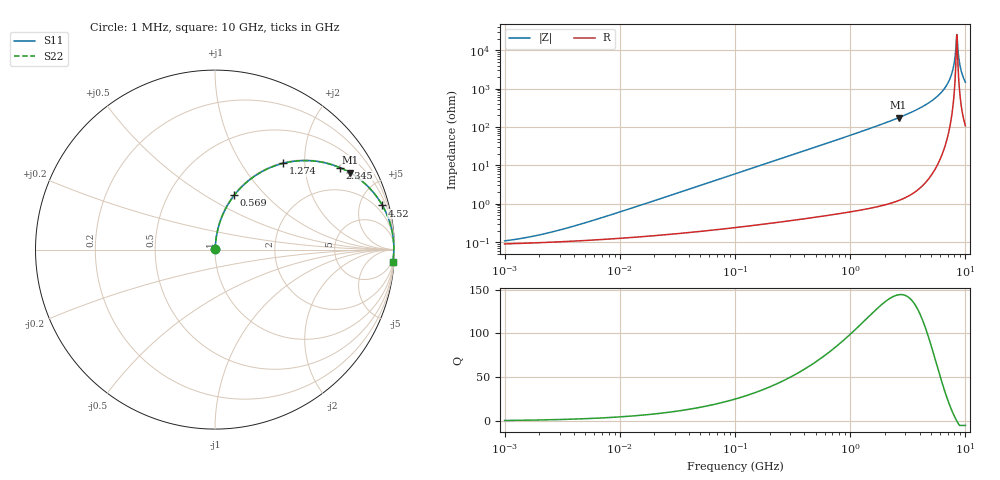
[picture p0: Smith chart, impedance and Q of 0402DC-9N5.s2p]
# MHz  S  MA  R  50
!Freq  MagS11  AngS11  MagS21  AngS21  MagS12  AngS12  MagS22  AngS22
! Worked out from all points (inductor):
!   801 points, 1 MHz to 10 GHz, reference 50 ohm
!   read as one part in series: L = 9.5 nH near 5.689 MHz
!   highest Q = 144 at 2.631 GHz (marker M1), where L = 10.5 nH
!   self-resonance near 8.418 GHz
!   S11 on the Smith chart (normalised r, x): 1 MHz: 1.00, +0.00; 569 MHz: 1.01, +0.68; 1.274 GHz: 1.01, +1.56; 2.345 GHz: 1.02, +3.03; 4.52 GHz: 1.07, +7.57; 10 GHz: 3, -29
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1  0.001075 33.7  0.9991 -0.0  0.9991 -0.0  0.001075 33.7
2.041806  0.001554 51.5  0.999 -0.1  0.999 -0.1  0.001554 51.5
4.67769  0.002993 68.6  0.9989 -0.2  0.9989 -0.2  0.002993 68.6
21.6303  0.01298 82.6  0.9984 -0.7  0.9984 -0.7  0.01298 82.6
100.0216  0.05951 84.3  0.9959 -3.4  0.9959 -3.4  0.05951 84.3
467.8699  0.2687 73.5  0.9591 -15.6  0.9591 -15.6  0.2687 73.5
569.0221  0.3216 70.5  0.9425 -18.8  0.9425 -18.8  0.3216 70.5
1273.93  0.6115 51.8  0.7858 -37.7  0.7858 -37.7  0.6115 51.8
2163.497  0.8075 35.7  0.5841 -53.8  0.5841 -53.8  0.8075 35.7
2345.081  0.8323 33.3  0.5486 -56.3  0.5486 -56.3  0.8323 33.3
2631.239  0.8644 29.8  0.4968 -59.8  0.4968 -59.8  0.8644 29.8
4520.342  0.9646 14.8  0.2548 -74.7  0.2548 -74.7  0.9646 14.8
5823.397  0.9864 8.5  0.1485 -80.5  0.1485 -80.5  0.9864 8.5
6921.177  0.994 4.5  0.07858 -83.3  0.07858 -83.3  0.994 4.5
7588.952  0.9958 2.4  0.04194 -83.1  0.04194 -83.1  0.9958 2.4
7855.657  0.9962 1.6  0.02831 -81.4  0.02831 -81.4  0.9962 1.6
8131.735  0.9963 0.8  0.01486 -75.1  0.01486 -75.1  0.9963 0.8
8417.515  0.9962 0.0  0.003866 -11.0  0.003866 -11.0  0.9962 0.0
8713.339  0.9959 -0.7  0.01353 72.1  0.01353 72.1  0.9959 -0.7
9019.56  0.9954 -1.5  0.02692 79.5  0.02692 79.5  0.9954 -1.5
9336.542  0.9948 -2.3  0.04051 81.4  0.04051 81.4  0.9948 -2.3
10000  0.9928 -3.9  0.06769 81.9  0.06769 81.9  0.9928 -3.9
